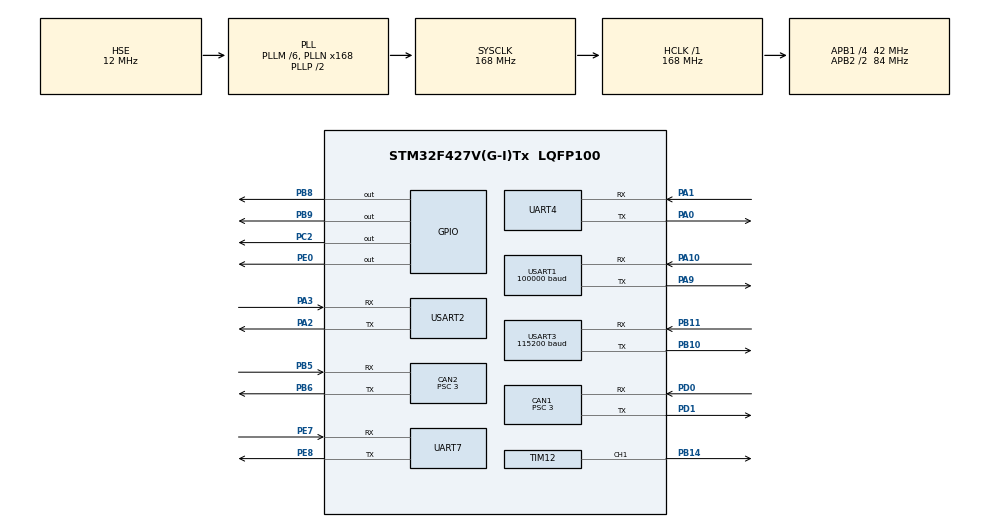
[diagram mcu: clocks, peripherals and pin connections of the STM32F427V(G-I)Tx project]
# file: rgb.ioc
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CAN1.BS1=CAN_BS1_10TQ
CAN1.BS2=CAN_BS2_3TQ
CAN1.CalculateBaudRate=1000000
CAN1.CalculateTimeBit=1000
CAN1.CalculateTimeQuantum=71.42857142857143
CAN1.Prescaler=3
CAN1.TXFP=ENABLE
CAN2.ABOM=DISABLE
CAN2.BS1=CAN_BS1_10TQ
CAN2.BS2=CAN_BS2_3TQ
CAN2.CalculateBaudRate=1000000
CAN2.CalculateTimeBit=1000
CAN2.CalculateTimeQuantum=71.42857142857143
CAN2.Prescaler=3
CAN2.TXFP=ENABLE
Dma.Request0=USART3_RX
Dma.Request1=USART3_TX
Dma.Request2=USART1_RX
Dma.Request3=UART4_RX
Dma.Request4=UART4_TX
Dma.Request5=USART2_RX
Dma.Request6=USART2_TX
Dma.UART4_RX.3.Direction=DMA_PERIPH_TO_MEMORY
Dma.UART4_RX.3.FIFOMode=DMA_FIFOMODE_DISABLE
Dma.UART4_RX.3.Instance=DMA1_Stream2
Dma.UART4_RX.3.MemDataAlignment=DMA_MDATAALIGN_BYTE
Dma.UART4_RX.3.MemInc=DMA_MINC_ENABLE
Dma.UART4_RX.3.Mode=DMA_NORMAL
Dma.UART4_RX.3.PeriphDataAlignment=DMA_PDATAALIGN_BYTE
Dma.UART4_RX.3.PeriphInc=DMA_PINC_DISABLE
Dma.UART4_RX.3.Priority=DMA_PRIORITY_VERY_HIGH
Dma.UART4_TX.4.Direction=DMA_MEMORY_TO_PERIPH
Dma.UART4_TX.4.FIFOMode=DMA_FIFOMODE_DISABLE
Dma.UART4_TX.4.Instance=DMA1_Stream4
Dma.UART4_TX.4.MemDataAlignment=DMA_MDATAALIGN_BYTE
Dma.UART4_TX.4.MemInc=DMA_MINC_ENABLE
Dma.UART4_TX.4.Mode=DMA_NORMAL
Dma.UART4_TX.4.PeriphDataAlignment=DMA_PDATAALIGN_BYTE
Dma.UART4_TX.4.PeriphInc=DMA_PINC_DISABLE
Dma.UART4_TX.4.Priority=DMA_PRIORITY_VERY_HIGH
Dma.USART1_RX.2.Direction=DMA_PERIPH_TO_MEMORY
Dma.USART1_RX.2.FIFOMode=DMA_FIFOMODE_DISABLE
Dma.USART1_RX.2.Instance=DMA2_Stream2
Dma.USART1_RX.2.MemDataAlignment=DMA_MDATAALIGN_BYTE
Dma.USART1_RX.2.MemInc=DMA_MINC_ENABLE
Dma.USART1_RX.2.Mode=DMA_NORMAL
Dma.USART1_RX.2.PeriphDataAlignment=DMA_PDATAALIGN_BYTE
Dma.USART1_RX.2.PeriphInc=DMA_PINC_DISABLE
Dma.USART1_RX.2.Priority=DMA_PRIORITY_VERY_HIGH
Dma.USART2_RX.5.Direction=DMA_PERIPH_TO_MEMORY
Dma.USART2_RX.5.FIFOMode=DMA_FIFOMODE_DISABLE
Dma.USART2_RX.5.Instance=DMA1_Stream5
Dma.USART2_RX.5.MemDataAlignment=DMA_MDATAALIGN_BYTE
Dma.USART2_RX.5.MemInc=DMA_MINC_ENABLE
Dma.USART2_RX.5.Mode=DMA_NORMAL
Dma.USART2_RX.5.PeriphDataAlignment=DMA_PDATAALIGN_BYTE
Dma.USART2_RX.5.PeriphInc=DMA_PINC_DISABLE
Dma.USART2_RX.5.Priority=DMA_PRIORITY_LOW
Dma.USART2_TX.6.Direction=DMA_MEMORY_TO_PERIPH
Dma.USART2_TX.6.FIFOMode=DMA_FIFOMODE_DISABLE
Dma.USART2_TX.6.Instance=DMA1_Stream6
Dma.USART2_TX.6.MemDataAlignment=DMA_MDATAALIGN_BYTE
Dma.USART2_TX.6.MemInc=DMA_MINC_ENABLE
Dma.USART2_TX.6.Mode=DMA_NORMAL
Dma.USART2_TX.6.PeriphDataAlignment=DMA_PDATAALIGN_BYTE
Dma.USART2_TX.6.PeriphInc=DMA_PINC_DISABLE
Dma.USART2_TX.6.Priority=DMA_PRIORITY_LOW
Dma.USART3_RX.0.Direction=DMA_PERIPH_TO_MEMORY
Dma.USART3_RX.0.FIFOMode=DMA_FIFOMODE_DISABLE
Dma.USART3_RX.0.Instance=DMA1_Stream1
Dma.USART3_RX.0.MemDataAlignment=DMA_MDATAALIGN_BYTE
Dma.USART3_RX.0.MemInc=DMA_MINC_ENABLE
Dma.USART3_RX.0.Mode=DMA_NORMAL
Dma.USART3_RX.0.PeriphDataAlignment=DMA_PDATAALIGN_BYTE
Dma.USART3_RX.0.PeriphInc=DMA_PINC_DISABLE
Dma.USART3_RX.0.Priority=DMA_PRIORITY_VERY_HIGH
Dma.USART3_TX.1.Direction=DMA_MEMORY_TO_PERIPH
Dma.USART3_TX.1.FIFOMode=DMA_FIFOMODE_DISABLE
Dma.USART3_TX.1.Instance=DMA1_Stream3
Dma.USART3_TX.1.MemDataAlignment=DMA_MDATAALIGN_BYTE
Dma.USART3_TX.1.MemInc=DMA_MINC_ENABLE
Dma.USART3_TX.1.Mode=DMA_NORMAL
Dma.USART3_TX.1.PeriphDataAlignment=DMA_PDATAALIGN_BYTE
Dma.USART3_TX.1.PeriphInc=DMA_PINC_DISABLE
Dma.USART3_TX.1.Priority=DMA_PRIORITY_VERY_HIGH
Mcu.Family=STM32F4
Mcu.Name=STM32F427V(G-I)Tx
Mcu.Package=LQFP100
NVIC.CAN1_RX0_IRQn=true\:0\:0\:false\:false\:true\:true\:true\:true
NVIC.CAN1_RX1_IRQn=true\:0\:0\:false\:false\:true\:true\:true\:true
NVIC.CAN2_RX0_IRQn=true\:0\:0\:false\:false\:true\:true\:true\:true
NVIC.CAN2_RX1_IRQn=true\:0\:0\:false\:false\:true\:true\:true\:true
NVIC.DMA1_Stream1_IRQn=true\:0\:0\:false\:false\:true\:false\:true\:true
NVIC.DMA1_Stream2_IRQn=true\:0\:0\:false\:false\:true\:false\:true\:true
NVIC.DMA1_Stream3_IRQn=true\:0\:0\:false\:false\:true\:false\:true\:true
NVIC.DMA1_Stream4_IRQn=true\:0\:0\:false\:false\:true\:false\:true\:true
NVIC.DMA1_Stream5_IRQn=true\:0\:0\:false\:false\:true\:false\:true\:true
NVIC.DMA1_Stream6_IRQn=true\:0\:0\:false\:false\:true\:false\:true\:true
NVIC.DMA2_Stream2_IRQn=true\:0\:0\:false\:false\:true\:false\:true\:true
NVIC.PriorityGroup=NVIC_PRIORITYGROUP_4
NVIC.TIM1_TRG_COM_TIM11_IRQn=true\:0\:0\:false\:false\:true\:true\:true\:true
NVIC.TIM8_BRK_TIM12_IRQn=true\:0\:0\:false\:false\:true\:true\:true\:true
NVIC.TIM8_TRG_COM_TIM14_IRQn=true\:0\:0\:false\:false\:true\:true\:true\:true
NVIC.TIM8_UP_TIM13_IRQn=true\:0\:0\:false\:false\:true\:true\:true\:true
NVIC.UART4_IRQn=true\:0\:0\:false\:false\:true\:true\:true\:true
NVIC.UART7_IRQn=true\:0\:0\:false\:false\:true\:true\:true\:true
NVIC.USART1_IRQn=true\:0\:0\:false\:false\:true\:true\:true\:true
NVIC.USART2_IRQn=true\:0\:0\:false\:false\:true\:true\:true\:true
NVIC.USART3_IRQn=true\:0\:0\:false\:false\:true\:true\:true\:true
PA0/WKUP.Mode=Asynchronous
PA0/WKUP.Signal=UART4_TX
PA1.Mode=Asynchronous
PA1.Signal=UART4_RX
PA10.Mode=Asynchronous
PA10.Signal=USART1_RX
PA13.Mode=Serial_Wire
PA13.Signal=SYS_JTMS-SWDIO
PA14.Mode=Serial_Wire
PA14.Signal=SYS_JTCK-SWCLK
PA2.Mode=Asynchronous
PA2.Signal=USART2_TX
PA3.Mode=Asynchronous
PA3.Signal=USART2_RX
PA9.Mode=Asynchronous
PA9.Signal=USART1_TX
PB10.Mode=Asynchronous
PB10.Signal=USART3_TX
PB11.Mode=Asynchronous
PB11.Signal=USART3_RX
PB14.Signal=S_TIM12_CH1
PB5.Mode=CAN_Activate
PB5.Signal=CAN2_RX
PB6.Mode=CAN_Activate
PB6.Signal=CAN2_TX
PB8.Signal=GPIO_Output
PB9.Signal=GPIO_Output
PC2.Signal=GPIO_Output
PD0.Mode=CAN_Activate
PD0.Signal=CAN1_RX
PD1.Mode=CAN_Activate
PD1.Signal=CAN1_TX
PE0.Signal=GPIO_Output
PE7.Mode=Asynchronous
PE7.Signal=UART7_RX
PE8.Mode=Asynchronous
PE8.Signal=UART7_TX
PH0/OSC_IN.Mode=HSE-External-Oscillator
PH0/OSC_IN.Signal=RCC_OSC_IN
PH1/OSC_OUT.Mode=HSE-External-Oscillator
PH1/OSC_OUT.Signal=RCC_OSC_OUT
ProjectManager.HeapSize=0x200
ProjectManager.StackSize=0x400
ProjectManager.TargetToolchain=MDK-ARM V5.32
RCC.48MHZClocksFreq_Value=84000000
RCC.AHBFreq_Value=168000000
RCC.APB1CLKDivider=RCC_HCLK_DIV4
RCC.APB1Freq_Value=42000000
RCC.APB1TimFreq_Value=84000000
RCC.APB2CLKDivider=RCC_HCLK_DIV2
RCC.APB2Freq_Value=84000000
RCC.APB2TimFreq_Value=168000000
RCC.CortexFreq_Value=168000000
RCC.HCLKFreq_Value=168000000
RCC.HSE_VALUE=12000000
RCC.HSI_VALUE=16000000
RCC.LSE_VALUE=32768
RCC.PLLM=6
RCC.PLLN=168
RCC.PLLSourceVirtual=RCC_PLLSOURCE_HSE
RCC.SYSCLKFreq_VALUE=168000000
RCC.SYSCLKSource=RCC_SYSCLKSOURCE_PLLCLK
RCC.VCOOutputFreq_Value=336000000
SH.S_TIM12_CH1.0=TIM12_CH1,PWM Generation1 CH1
TIM11.Period=1000-1
TIM11.Prescaler=90-1
TIM12.Channel-PWM\ Generation1\ CH1=TIM_CHANNEL_1
TIM12.Period=20000-1
TIM12.Prescaler=167
TIM12.Pulse-PWM\ Generation1\ CH1=24
TIM13.Period=800-1
TIM13.Prescaler=168-1
TIM14.Period=10000-1
TIM14.Prescaler=9000-1
UART4.VirtualMode=Asynchronous
UART7.VirtualMode=Asynchronous
USART1.BaudRate=100000
USART1.Parity=PARITY_EVEN
USART1.VirtualMode=VM_ASYNC
USART2.VirtualMode=VM_ASYNC
USART3.BaudRate=115200
USART3.VirtualMode=VM_ASYNC
VP_TIM11_VS_ClockSourceINT.Mode=Enable_Timer
VP_TIM12_VS_ClockSourceINT.Mode=Internal
VP_TIM13_VS_ClockSourceINT.Mode=Enable_Timer
VP_TIM14_VS_ClockSourceINT.Mode=Enable_Timer
board=custom

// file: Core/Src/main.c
/* USER CODE BEGIN Header */
/**
  ******************************************************************************
  * @file           : main.c
  * @brief          : Main program body
  ******************************************************************************
  * @attention
  *
  * Copyright (c) 2023 STMicroelectronics.
  * All rights reserved.
  *
  * This software is licensed under terms that can be found in the LICENSE file
  * in the root directory of this software component.
  * If no LICENSE file comes with this software, it is provided AS-IS.
  *
  ******************************************************************************
  */
/* USER CODE END Header */
#include "main.h"
#include "can.h"
#include "dma.h"
#include "tim.h"
#include "usart.h"
#include "gpio.h"

/* USER CODE BEGIN Includes */
#include <stdio.h>
#include <stdarg.h>
#include "string.h"
#include "bsp_can.h"
#include "CAN_receive.h"
#include "root.h"
#include "shu_math.h"
#include "BMI088driver.h"//六轴陀螺仪

/* USER CODE END Includes */

void SystemClock_Config(void);

/* USER CODE BEGIN 0 */
int len=100;
float ist8310[3];
float gyro[3],acce[3],temp;
/****该函数不能传递浮点数****/
void usart_printf(const char *fmt,...)
{
    static uint8_t tx_buf[256] = {0};
    static va_list ap;
    static uint16_t len;
    va_start(ap, fmt);

    //return length of string
    //返回字符串长度
    len = vsprintf((char *)tx_buf, fmt, ap);

    va_end(ap);

   HAL_UART_Transmit_DMA(&huart7,tx_buf, len);

}

/* USER CODE END 0 */

int main(void)
{
  /* USER CODE BEGIN 1 */
/************************串口说明*******************

	裁判系统串口4
	上位机3

****************************************************/
  /* USER CODE END 1 */

  /* MCU Configuration--------------------------------------------------------*/

  /* Reset of all peripherals, Initializes the Flash interface and the Systick. */
  HAL_Init();

  /* Configure the system clock */
  SystemClock_Config();

  /* Initialize all configured peripherals */
  MX_GPIO_Init();
  MX_DMA_Init();
  MX_TIM12_Init();
  MX_TIM14_Init();
  MX_USART3_UART_Init();
  MX_CAN1_Init();
  MX_CAN2_Init();
  MX_USART1_UART_Init();
  MX_UART4_Init();
  MX_TIM11_Init();
  MX_TIM13_Init();
  MX_UART7_Init();
  MX_USART2_UART_Init();
  /* USER CODE BEGIN 2 */
	HAL_TIM_Base_Start_IT(&htim11);
	HAL_TIM_Base_Start_IT(&htim13);
	HAL_TIM_Base_Start_IT(&htim12);
	HAL_TIM_Base_Start_IT(&htim14);

  can_filter_init();
	PositionInit();
	root_t.Init_t.chassisInit = CHInfantryInit();
	root_t.Init_t.mecanumInit = MecanumInit();
//__HAL_UART_ENABLE_IT(&huart4,UART_IT_RXNE);
//__HAL_UART_ENABLE_IT(&huart7,UART_IT_RXNE);

  /* USER CODE END 2 */

  /* Infinite loop */
  /* USER CODE BEGIN WHILE */
  while (1)
  {//每次用cubemx刷的时候记得删除.it中断里的void USART1_IRQHandler(void)//dbus接收
//m_GM6020_p_t   m_GM6020_y_t   TopData_t
    /* USER CODE END WHILE */

    /* USER CODE BEGIN 3 */
//	HAL_GPIO_TogglePin (GPIOB,GPIO_PIN_8);

	  usart_printf("RoboMaster\r\n", 12, 100);

//   	HAL_Delay(200);
//		my_CAN_Send(&hcan1 , 0x2ff , 1000 , 0 , 2000 , 0 , 8);

	}
  /* USER CODE END 3 */
}

void SystemClock_Config(void)
{
  RCC_OscInitTypeDef RCC_OscInitStruct = {0};
  RCC_ClkInitTypeDef RCC_ClkInitStruct = {0};

  /** Configure the main internal regulator output voltage
  */
  __HAL_RCC_PWR_CLK_ENABLE();
  __HAL_PWR_VOLTAGESCALING_CONFIG(PWR_REGULATOR_VOLTAGE_SCALE1);

  /** Initializes the RCC Oscillators according to the specified parameters
  * in the RCC_OscInitTypeDef structure.
  */
  RCC_OscInitStruct.OscillatorType = RCC_OSCILLATORTYPE_HSE;
  RCC_OscInitStruct.HSEState = RCC_HSE_ON;
  RCC_OscInitStruct.PLL.PLLState = RCC_PLL_ON;
  RCC_OscInitStruct.PLL.PLLSource = RCC_PLLSOURCE_HSE;
  RCC_OscInitStruct.PLL.PLLM = 6;
  RCC_OscInitStruct.PLL.PLLN = 168;
  RCC_OscInitStruct.PLL.PLLP = RCC_PLLP_DIV2;
  RCC_OscInitStruct.PLL.PLLQ = 4;
  if (HAL_RCC_OscConfig(&RCC_OscInitStruct) != HAL_OK)
  {
    Error_Handler();
  }

  /** Initializes the CPU, AHB and APB buses clocks
  */
  RCC_ClkInitStruct.ClockType = RCC_CLOCKTYPE_HCLK|RCC_CLOCKTYPE_SYSCLK
                              |RCC_CLOCKTYPE_PCLK1|RCC_CLOCKTYPE_PCLK2;
  RCC_ClkInitStruct.SYSCLKSource = RCC_SYSCLKSOURCE_PLLCLK;
  RCC_ClkInitStruct.AHBCLKDivider = RCC_SYSCLK_DIV1;
  RCC_ClkInitStruct.APB1CLKDivider = RCC_HCLK_DIV4;
  RCC_ClkInitStruct.APB2CLKDivider = RCC_HCLK_DIV2;

  if (HAL_RCC_ClockConfig(&RCC_ClkInitStruct, FLASH_LATENCY_5) != HAL_OK)
  {
    Error_Handler();
  }
}

void Error_Handler(void)
{
  __disable_irq();
  while (1)
  {
  }
}
